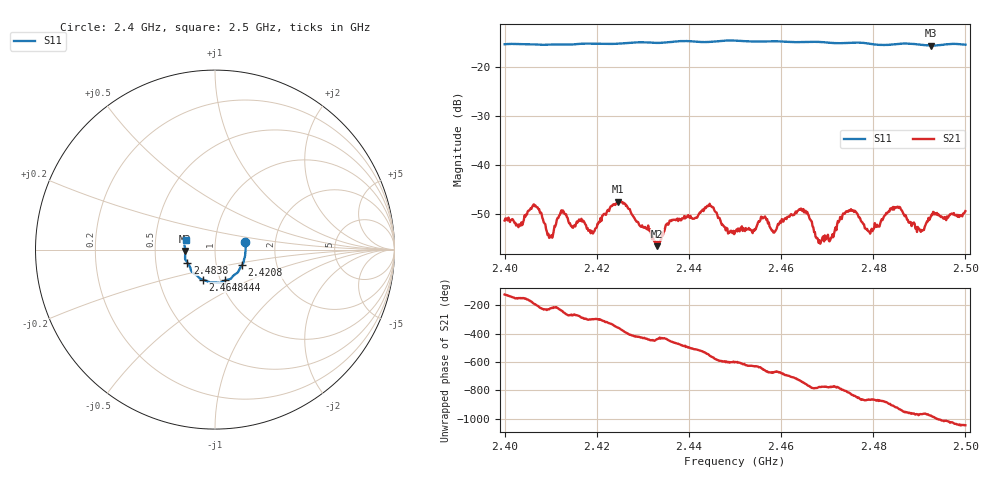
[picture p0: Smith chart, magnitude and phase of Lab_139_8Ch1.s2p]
# Hz S RI R 50
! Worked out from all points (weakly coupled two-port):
!   601 points, 2.4 GHz to 2.5 GHz, reference 50 ohm
!   highest |S21| = -47.44 dB at 2.4247 GHz (marker M1); lowest = -56.5 dB at 2.433 GHz (marker M2)
!   lowest |S11| = -15.6 dB at 2.4925 GHz (marker M3), VSWR 1.40, Z = 35.8 - j0.607 ohm
!   |S11| at or under -10 dB: start of sweep to end of sweep
!   S12 and S22 are empty: the file has one direction only
!   S11 on the Smith chart (normalised r, x): 2.4 GHz: 1.39, +0.12; 2.4208 GHz: 1.33, -0.24; 2.444 GHz: 1.05, -0.37; 2.4648 GHz: 0.83, -0.29; 2.4838 GHz: 0.73, -0.11; 2.5 GHz: 0.72, +0.08
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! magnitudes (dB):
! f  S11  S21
! 2.4 GHz  -15.3  -51.3
! 2.4067 GHz  -15.4  -48.2
! 2.4098 GHz  -15.4  -54.6
! 2.4123 GHz  -15.3  -49.2
! 2.4167 GHz  -15.2  -50.9
! 2.4208 GHz  -15.2  -50.8
! 2.4247 GHz  -15.2  -47.4
! 2.433 GHz  -15.0  -56.5
! 2.4333 GHz  -15.0  -56.2
! 2.4362 GHz  -14.9  -51.4
! 2.444 GHz  -14.9  -48.3
! 2.45 GHz  -14.6  -53.6
! 2.4648 GHz  -14.9  -49.0
! 2.4667 GHz  -14.8  -51.5
! 2.4685 GHz  -14.9  -56.1
! 2.4747 GHz  -15.0  -49.2
! 2.4793 GHz  -15.2  -54.0
! 2.4833 GHz  -15.4  -49.5
! 2.4838 GHz  -15.4  -49.0
! 2.49 GHz  -15.4  -53.0
! 2.4925 GHz  -15.6  -50.5
! 2.5 GHz  -15.4  -49.4
